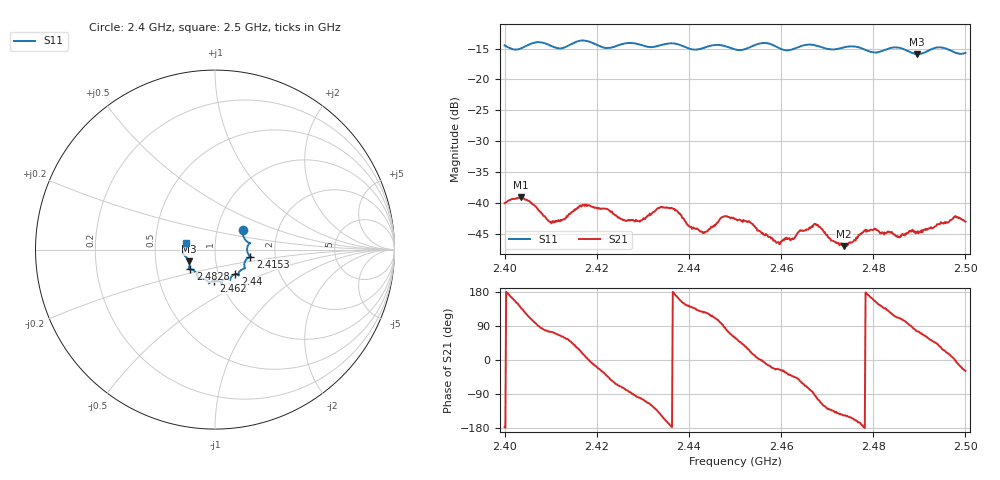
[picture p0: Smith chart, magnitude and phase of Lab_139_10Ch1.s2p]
# Hz S RI R 50
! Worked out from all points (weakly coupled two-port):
!   601 points, 2.4 GHz to 2.5 GHz, reference 50 ohm
!   highest |S21| = -39.11 dB at 2.4035 GHz (marker M1); lowest = -47.0 dB at 2.4737 GHz (marker M2)
!   lowest |S11| = -15.9 dB at 2.4895 GHz (marker M3), VSWR 1.38, Z = 37 - j4.99 ohm
!   |S11| at or under -10 dB: start of sweep to end of sweep
!   S12 and S22 are empty: the file has one direction only
!   S11 on the Smith chart (normalised r, x): 2.4 GHz: 1.33, +0.30; 2.4153 GHz: 1.48, -0.12; 2.44 GHz: 1.21, -0.34; 2.462 GHz: 0.93, -0.33; 2.4828 GHz: 0.74, -0.17; 2.5 GHz: 0.72, +0.06
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2.4e9  0.1553 0.107  -0.00995 -0.000552  0 0  0 0
2.4035e9  0.1702 0.0531  -0.00826 0.0074  0 0  0 0
2.410167e9  0.1845 0.0241  0.00186 0.00659  0 0  0 0
2.415333e9  0.1963 -0.039  0.00719 0.00529  0 0  0 0
2.416667e9  0.202 -0.043  0.00878 0.00325  0 0  0 0
2.428833e9  0.1627 -0.1052  -0.00101 -0.0071  0 0  0 0
2.433333e9  0.1308 -0.1338  -0.00666 -0.00623  0 0  0 0
2.436833e9  0.1322 -0.1438  -0.00893 0.000772  0 0  0 0
2.44e9  0.1142 -0.1365  -0.00527 0.00389  0 0  0 0
2.4435e9  0.0868 -0.1595  -0.00341 0.00471  0 0  0 0
2.447333e9  0.0835 -0.1682  -0.000429 0.00769  0 0  0 0
2.45e9  0.065 -0.1625  0.00387 0.00631  0 0  0 0
2.459333e9  0.028 -0.1787  0.00441 -0.00196  0 0  0 0
2.462e9  -0.0052 -0.1732  0.00384 -0.00318  0 0  0 0
2.466667e9  -0.0343 -0.188  0.000862 -0.00644  0 0  0 0
2.473667e9  -0.0857 -0.1605  -0.00371 -0.00251  0 0  0 0
2.478333e9  -0.1003 -0.1413  -0.00608 0.000181  0 0  0 0
2.482833e9  -0.1366 -0.1092  -0.00396 0.00406  0 0  0 0
2.483333e9  -0.1404 -0.1089  -0.00371 0.00452  0 0  0 0
2.4895e9  -0.1461 -0.0658  0.00138 0.00559  0 0  0 0
2.497833e9  -0.1646 0.00288  0.00785 -0.000211  0 0  0 0
2.5e9  -0.1593 0.0389  0.0062 -0.00338  0 0  0 0
